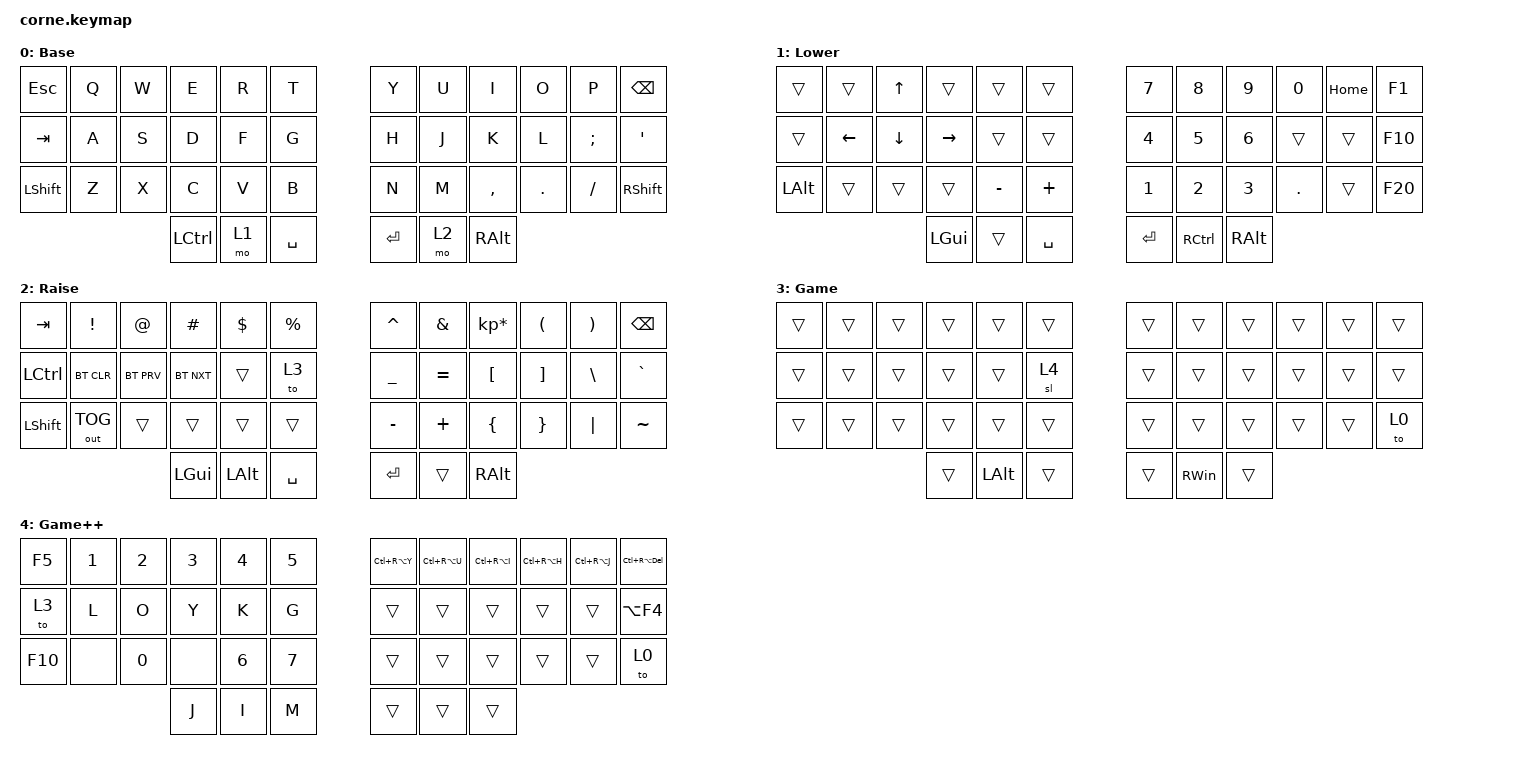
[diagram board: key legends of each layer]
/*
 * Copyright (c) 2020 The ZMK Contributors
 *
 * SPDX-License-Identifier: MIT
 */

#include <behaviors.dtsi>
#include <dt-bindings/zmk/bt.h>
#include <dt-bindings/zmk/keys.h>
#include <dt-bindings/zmk/outputs.h>

/ {
    keymap {
        compatible = "zmk,keymap";

        default_layer {
            // -----------------------------------------------------------------------------------------
            // |  TAB |  Q  |  W  |  E  |  R  |  T  |   |  Y  |  U   |  I  |  O  |  P  | BKSP |
            // | CTRL |  A  |  S  |  D  |  F  |  G  |   |  H  |  J   |  K  |  L  |  ;  |  '   |
            // | SHFT |  Z  |  X  |  C  |  V  |  B  |   |  N  |  M   |  ,  |  .  |  /  | ESC  |
            //                    | GUI | LWR | SPC |   | ENT | RSE  | ALT |

            label = "Base";
            bindings = <
  &kp ESC  &kp Q  &kp W             &kp E  &kp R      &kp T      &kp Y  &kp U      &kp I    &kp O     &kp P         &kp BSPC
  &kp TAB  &kp A  &kp S             &kp D  &kp F      &kp G      &kp H  &kp J      &kp K    &kp L  &kp SEMI          &kp SQT
&kp LSHFT  &kp Z  &kp X             &kp C  &kp V      &kp B      &kp N  &kp M  &kp COMMA  &kp DOT  &kp FSLH  &kp RIGHT_SHIFT
                         &kp LEFT_CONTROL  &mo 1  &kp SPACE    &kp RET  &mo 2   &kp RALT
            >;
        };

        lower_layer {
            // -----------------------------------------------------------------------------------------
            // |  TAB |  1  |  2  |  3  |  4  |  5  |   |  6  |  7  |  8  |  9  |  0  | BKSP |
            // | BTCLR| BT1 | BT2 | BT3 | BT4 | BT5 |   | LFT | DWN |  UP | RGT |     |      |
            // | SHFT |     |     |     |     |     |   |     |     |     |     |     |      |
            //                    | GUI |     | SPC |   | ENT |     | ALT |

            label = "Lower";
            bindings = <
  &trans    &trans    &kp UP     &trans     &trans     &trans     &kp N7     &kp N8    &kp N9   &kp N0  &kp HOME   &kp F1
  &trans  &kp LEFT  &kp DOWN  &kp RIGHT     &trans     &trans     &kp N4     &kp N5    &kp N6   &trans    &trans  &kp F10
&kp LALT    &trans    &trans     &trans  &kp MINUS   &kp PLUS     &kp N1     &kp N2    &kp N3  &kp DOT    &trans  &kp F20
                               &kp LGUI     &trans  &kp SPACE    &kp RET  &kp RCTRL  &kp RALT
            >;
        };

        raise_layer {
            // -----------------------------------------------------------------------------------------
            // |  TAB |  !  |  @  |  #  |  $  |  %  |   |  ^  |  &  |  *  |  (  |  )  | BKSP |
            // | CTRL |     |     |     |     |     |   |  -  |  =  |  [  |  ]  |  \  |  `   |
            // | SHFT |     |     |     |     |     |   |  _  |  +  |  {  |  }  | "|" |  ~   |
            //                    | GUI |     | SPC |   | ENT |     | ALT |

            label = "Raise";
            bindings = <
  &kp TAB      &kp EXCL      &kp AT    &kp HASH  &kp DLLR  &kp PRCNT         &kp CARET   &kp AMPS  &kp KP_MULTIPLY  &kp LPAR  &kp RPAR   &kp BSPC
&kp LCTRL    &bt BT_CLR  &bt BT_PRV  &bt BT_NXT    &trans      &to 3    &kp UNDERSCORE  &kp EQUAL         &kp LBKT  &kp RBKT  &kp BSLH  &kp GRAVE
&kp LSHFT  &out OUT_TOG      &trans      &trans    &trans     &trans         &kp MINUS   &kp PLUS         &kp LBRC  &kp RBRC  &kp PIPE  &kp TILDE
                                       &kp LGUI  &kp LALT  &kp SPACE           &kp RET     &trans         &kp RALT
            >;
        };

        game_layer {
            bindings = <
&trans  &trans  &trans  &trans    &trans  &trans    &trans    &trans  &trans  &trans  &trans  &trans
&trans  &trans  &trans  &trans    &trans   &sl 4    &trans    &trans  &trans  &trans  &trans  &trans
&trans  &trans  &trans  &trans    &trans  &trans    &trans    &trans  &trans  &trans  &trans   &to 0
                        &trans  &kp LALT  &trans    &trans  &kp RWIN  &trans
            >;

            label = "Game";
        };

        game+_layer {
            bindings = <
 &kp F5  &kp N1        &kp N2  &kp N3  &kp N4  &kp N5    &kp LC(RA(Y))  &kp LC(RA(U))  &kp LC(RA(I))  &kp LC(RA(H))  &kp LC(RA(J))  &kp LC(RA(DEL))
  &to 3   &kp L         &kp O   &kp Y   &kp K   &kp G           &trans         &trans         &trans         &trans         &trans       &kp LA(F4)
&kp F10   &none  &kp NUMBER_0   &none  &kp N6  &kp N7           &trans         &trans         &trans         &trans         &trans            &to 0
                                &kp J   &kp I   &kp M           &trans         &trans         &trans
            >;

            label = "Game++";
        };
    };
};
